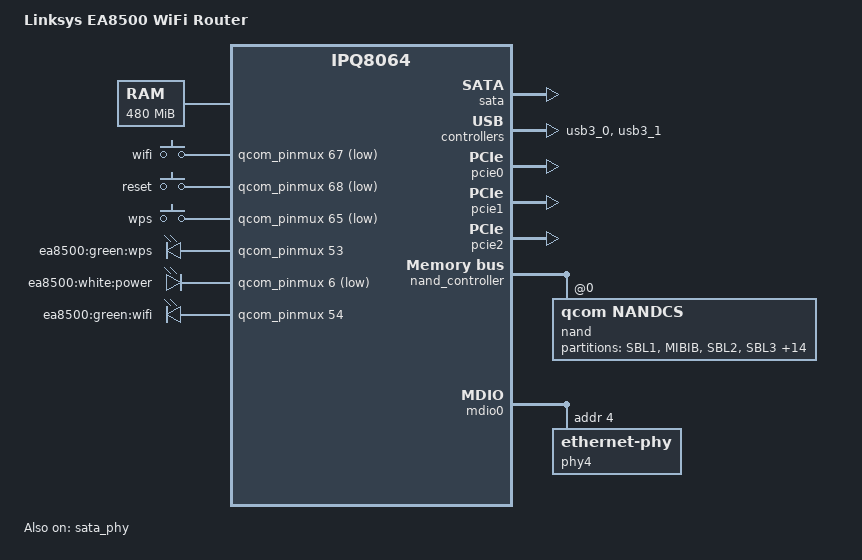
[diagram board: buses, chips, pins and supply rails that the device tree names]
#include "qcom-ipq8064-eax500.dtsi"

/ {
	model = "Linksys EA8500 WiFi Router";
	compatible = "linksys,ea8500", "qcom,ipq8064";

	memory@0 {
		reg = <0x42000000 0x1e000000>;
		device_type = "memory";
	};

	aliases {
		mdio-gpio0 = &mdio0;

		led-boot = &led_power;
		led-failsafe = &led_power;
		led-running = &led_power;
		led-upgrade = &led_power;
	};

	keys {
		compatible = "gpio-keys";
		pinctrl-0 = <&button_pins>;
		pinctrl-names = "default";

		wifi {
			label = "wifi";
			gpios = <&qcom_pinmux 67 GPIO_ACTIVE_LOW>;
			linux,code = <KEY_RFKILL>;
		};

		reset {
			label = "reset";
			gpios = <&qcom_pinmux 68 GPIO_ACTIVE_LOW>;
			linux,code = <KEY_RESTART>;
		};

		wps {
			label = "wps";
			gpios = <&qcom_pinmux 65 GPIO_ACTIVE_LOW>;
			linux,code = <KEY_WPS_BUTTON>;
		};
	};

	leds {
		compatible = "gpio-leds";
		pinctrl-0 = <&led_pins>;
		pinctrl-names = "default";

		wps {
			label = "ea8500:green:wps";
			gpios = <&qcom_pinmux 53 GPIO_ACTIVE_HIGH>;
		};

		led_power: power {
			label = "ea8500:white:power";
			gpios = <&qcom_pinmux 6 GPIO_ACTIVE_LOW>;
			default-state = "keep";
		};

		wifi {
			label = "ea8500:green:wifi";
			gpios = <&qcom_pinmux 54 GPIO_ACTIVE_HIGH>;
		};
	};
};

&qcom_pinmux {
	button_pins: button_pins {
		mux {
			pins = "gpio65", "gpio67", "gpio68";
			function = "gpio";
			drive-strength = <2>;
			bias-pull-up;
		};
	};

	led_pins: led_pins {
		mux {
			pins = "gpio6", "gpio53", "gpio54";
			function = "gpio";
			drive-strength = <2>;
			bias-pull-up;
		};
	};
};

&sata_phy {
	status = "okay";
};

&sata {
	status = "okay";
};

&usb3_0 {
	status = "okay";
};

&usb3_1 {
	status = "okay";
};

&pcie0 {
	status = "okay";
	max-link-speed = <1>;
};

&pcie1 {
	status = "okay";
};

&pcie2 {
	status = "okay";
};

&nand_controller {
	status = "okay";

	pinctrl-0 = <&nand_pins>;
	pinctrl-names = "default";

	nand@0 {
		reg = <0>;
		compatible = "qcom,nandcs";

		nand-ecc-strength = <4>;
		nand-bus-width = <8>;
		nand-ecc-step-size = <512>;

		partitions {
			compatible = "fixed-partitions";
			#address-cells = <1>;
			#size-cells = <1>;

			SBL1@0 {
				label = "SBL1";
				reg = <0x0000000 0x0040000>;
				read-only;
			};

			MIBIB@40000 {
				label = "MIBIB";
				reg = <0x0040000 0x0140000>;
				read-only;
			};

			SBL2@180000 {
				label = "SBL2";
				reg = <0x0180000 0x0140000>;
				read-only;
			};

			SBL3@2c0000 {
				label = "SBL3";
				reg = <0x02c0000 0x0280000>;
				read-only;
			};

			DDRCONFIG@540000 {
				label = "DDRCONFIG";
				reg = <0x0540000 0x0120000>;
				read-only;
			};

			SSD@660000 {
				label = "SSD";
				reg = <0x0660000 0x0120000>;
				read-only;
			};

			TZ@780000 {
				label = "TZ";
				reg = <0x0780000 0x0280000>;
				read-only;
			};

			RPM@a00000 {
				label = "RPM";
				reg = <0x0a00000 0x0280000>;
				read-only;
			};

			art: art@c80000 {
				label = "art";
				reg = <0x0c80000 0x0140000>;
				read-only;
			};

			APPSBL@dc0000 {
				label = "APPSBL";
				reg = <0x0dc0000 0x0100000>;
				read-only;
			};

			u_env@ec0000 {
				label = "u_env";
				reg = <0x0ec0000 0x0040000>;
			};

			s_env@f00000 {
				label = "s_env";
				reg = <0x0f00000 0x0040000>;
			};

			devinfo@f40000 {
				label = "devinfo";
				reg = <0x0f40000 0x0040000>;
			};

			linux@f80000 {
				label = "kernel1";
				reg = <0x0f80000 0x2800000>;  /* 3 MB spill to rootfs*/
			};

			rootfs@1280000 {
				label = "rootfs1";
				reg = <0x1280000 0x2500000>;
			};

			linux2@3780000 {
				label = "kernel2";
				reg = <0x3780000 0x2800000>;
			};

			rootfs2@3a80000 {
				label = "rootfs2";
				reg = <0x3a80000 0x2500000>;
			};

			syscfg@5f80000 {
				label = "syscfg";
				reg = <0x5f80000 0x2080000>;
			};
		};
	};
};

&mdio0 {
	phy4: ethernet-phy@4 {
		reg = <4>;
	};
};

&gmac1 {
	qcom,phy_mdio_addr = <4>;
	qcom,poll_required = <1>;
	qcom,rgmii_delay = <0>;
	qcom,emulation = <0>;
};

/* LAN */
&gmac2 {
	qcom,phy_mdio_addr = <0>;	/* none */
	qcom,poll_required = <0>;	/* no polling */
	qcom,rgmii_delay = <0>;
	qcom,emulation = <0>;
};
